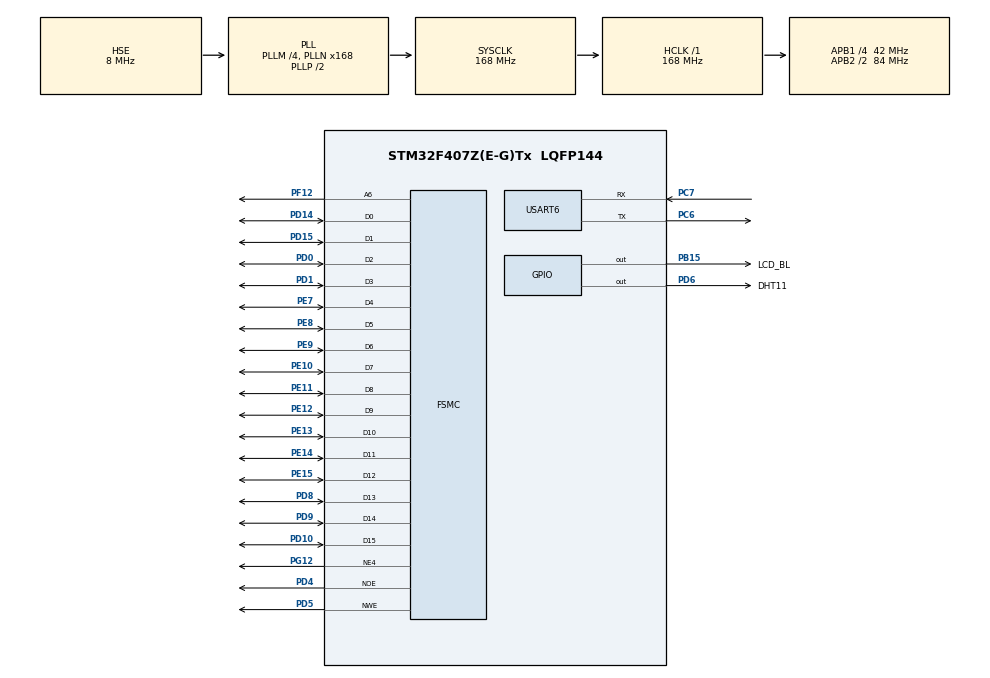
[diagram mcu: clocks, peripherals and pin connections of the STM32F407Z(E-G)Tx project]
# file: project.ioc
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FSMC.BusTurnAroundDuration1=0
FSMC.DataSetupTime1=60
FSMC.ExtendedAddressSetupTime1=8
FSMC.ExtendedBusTurnAroundDuration1=0
FSMC.ExtendedDataSetupTime1=8
FSMC.ExtendedMode1=FSMC_EXTENDED_MODE_ENABLE
Mcu.Family=STM32F4
Mcu.Name=STM32F407Z(E-G)Tx
Mcu.Package=LQFP144
NVIC.PriorityGroup=NVIC_PRIORITYGROUP_4
PA13.Mode=Serial_Wire
PA13.Signal=SYS_JTMS-SWDIO
PA14.Mode=Serial_Wire
PA14.Signal=SYS_JTCK-SWCLK
PB15.GPIO_Label=LCD_BL
PB15.Signal=GPIO_Output
PC14-OSC32_IN.Mode=LSE-External-Oscillator
PC14-OSC32_IN.Signal=RCC_OSC32_IN
PC15-OSC32_OUT.Mode=LSE-External-Oscillator
PC15-OSC32_OUT.Signal=RCC_OSC32_OUT
PC6.Mode=Asynchronous
PC6.Signal=USART6_TX
PC7.Mode=Asynchronous
PC7.Signal=USART6_RX
PD0.Signal=FSMC_D2_DA2
PD1.Signal=FSMC_D3_DA3
PD10.Signal=FSMC_D15_DA15
PD14.Signal=FSMC_D0_DA0
PD15.Signal=FSMC_D1_DA1
PD4.Signal=FSMC_NOE
PD5.Signal=FSMC_NWE
PD6.GPIO_Label=DHT11
PD6.Signal=GPIO_Output
PD8.Signal=FSMC_D13_DA13
PD9.Signal=FSMC_D14_DA14
PE10.Signal=FSMC_D7_DA7
PE11.Signal=FSMC_D8_DA8
PE12.Signal=FSMC_D9_DA9
PE13.Signal=FSMC_D10_DA10
PE14.Signal=FSMC_D11_DA11
PE15.Signal=FSMC_D12_DA12
PE7.Signal=FSMC_D4_DA4
PE8.Signal=FSMC_D5_DA5
PE9.Signal=FSMC_D6_DA6
PF12.Signal=FSMC_A6
PG12.Mode=NorPsramChipSelect4_1
PG12.Signal=FSMC_NE4
PH0-OSC_IN.Mode=HSE-External-Oscillator
PH0-OSC_IN.Signal=RCC_OSC_IN
PH1-OSC_OUT.Mode=HSE-External-Oscillator
PH1-OSC_OUT.Signal=RCC_OSC_OUT
ProjectManager.HeapSize=0x200
ProjectManager.StackSize=0x400
ProjectManager.TargetToolchain=MDK-ARM V5
RCC.48MHZClocksFreq_Value=84000000
RCC.AHBFreq_Value=168000000
RCC.APB1CLKDivider=RCC_HCLK_DIV4
RCC.APB1Freq_Value=42000000
RCC.APB1TimFreq_Value=84000000
RCC.APB2CLKDivider=RCC_HCLK_DIV2
RCC.APB2Freq_Value=84000000
RCC.APB2TimFreq_Value=168000000
RCC.CortexFreq_Value=168000000
RCC.HCLKFreq_Value=168000000
RCC.HSE_VALUE=8000000
RCC.HSI_VALUE=16000000
RCC.PLLM=4
RCC.PLLN=168
RCC.PLLSourceVirtual=RCC_PLLSOURCE_HSE
RCC.SYSCLKFreq_VALUE=168000000
RCC.SYSCLKSource=RCC_SYSCLKSOURCE_PLLCLK
RCC.VCOOutputFreq_Value=336000000
SH.FSMC_A6.0=FSMC_A6,A6_1
SH.FSMC_D0_DA0.0=FSMC_D0,16b-d1
SH.FSMC_D10_DA10.0=FSMC_D10,16b-d1
SH.FSMC_D11_DA11.0=FSMC_D11,16b-d1
SH.FSMC_D12_DA12.0=FSMC_D12,16b-d1
SH.FSMC_D13_DA13.0=FSMC_D13,16b-d1
SH.FSMC_D14_DA14.0=FSMC_D14,16b-d1
SH.FSMC_D15_DA15.0=FSMC_D15,16b-d1
SH.FSMC_D1_DA1.0=FSMC_D1,16b-d1
SH.FSMC_D2_DA2.0=FSMC_D2,16b-d1
SH.FSMC_D3_DA3.0=FSMC_D3,16b-d1
SH.FSMC_D4_DA4.0=FSMC_D4,16b-d1
SH.FSMC_D5_DA5.0=FSMC_D5,16b-d1
SH.FSMC_D6_DA6.0=FSMC_D6,16b-d1
SH.FSMC_D7_DA7.0=FSMC_D7,16b-d1
SH.FSMC_D8_DA8.0=FSMC_D8,16b-d1
SH.FSMC_D9_DA9.0=FSMC_D9,16b-d1
SH.FSMC_NOE.0=FSMC_NOE,Lcd1
SH.FSMC_NWE.0=FSMC_NWE,Lcd1
TIM3.Period=999
TIM3.Prescaler=83
TIM5.Prescaler=83
USART6.VirtualMode=VM_ASYNC
VP_TIM3_VS_ClockSourceINT.Mode=Internal
VP_TIM5_VS_ClockSourceINT.Mode=Internal
board=custom

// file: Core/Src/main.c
/* USER CODE BEGIN Header */
/**
  ******************************************************************************
  * @file           : main.c
  * @brief          : Main program body
  ******************************************************************************
  * @attention
  *
  * <h2><center>&copy; Copyright (c) 2022 STMicroelectronics.
  * All rights reserved.</center></h2>
  *
  * This software component is licensed by ST under BSD 3-Clause license,
  * the "License"; You may not use this file except in compliance with the
  * License. You may obtain a copy of the License at:
  *                        opensource.org/licenses/BSD-3-Clause
  *
  ******************************************************************************
  */
/* USER CODE END Header */
#include "main.h"
#include "tim.h"
#include "usart.h"
#include "gpio.h"
#include "fsmc.h"

/* USER CODE BEGIN Includes */
#include "COMMON/bsp_common.h"
#include "LCD/bsp_lcd.h"
#include "DHT11/bsp_dht11.h"
#include "INFO/bsp_info.h"
/* USER CODE END Includes */

/* USER CODE BEGIN PV */
//LCD显示变量
uint8_t lcd_std[12];
//dht11变量
DHT11_Data_TypeDef DHT11_Data;
char uart_std[21];
/* USER CODE END PV */

void SystemClock_Config(void);

int main(void)
{

  /* MCU Configuration--------------------------------------------------------*/

  /* Reset of all peripherals, Initializes the Flash interface and the Systick. */
  HAL_Init();

  /* Configure the system clock */
  SystemClock_Config();

  /* Initialize all configured peripherals */
  MX_GPIO_Init();
  MX_FSMC_Init();
  MX_TIM3_Init();
  MX_TIM5_Init();
  MX_USART6_UART_Init();
  /* USER CODE BEGIN 2 */
	LCD_Init();
	LCD_DisplayOn();
	LCD_Display_Dir(1);/*横屏显示*/
  /* USER CODE END 2 */

  /* Infinite loop */
  while (1)
  {

    /* USER CODE BEGIN 3 */
		//LCD显示例程
//		LCD_ShowString(30,40,250,24,24,(uint8_t*)"Explorer STM32F4");
//		LCD_ShowString(30,70,200,16,16,(uint8_t*)"TFTLCD TEST");
//		LCD_ShowString(30,90,200,16,16,(uint8_t*)"ATOM@ALIENTEK");
//		sprintf((char*)lcd_std,"LCD ID:%04X",lcddev.id);
//		LCD_ShowString(30,110,200,16,16,lcd_std);
//		sprintf((char*)lcd_std,"KEY:%04d",key_val);
//		LCD_ShowString(30,130,200,12,12,lcd_std);
		//DHT11例程
		if(DHT11_ReadData(&DHT11_Data))
		{
			user_main_info("\r\nDHT11 Read Success!\r\n");

			sprintf(uart_std,"\r\n湿度为%d.%d ％RH\r\n", DHT11_Data.humi_int,DHT11_Data.humi_deci);
			HAL_UART_Transmit(&huart6,(uint8_t*)uart_std,21,0XFFFF);

			sprintf(uart_std,"\r\n温度为%d.%d  ℃  \r\n", DHT11_Data.temp_int,DHT11_Data.temp_deci);
			HAL_UART_Transmit(&huart6,(uint8_t*)uart_std,21,0XFFFF);
		}
		else
		{
			user_main_error("Read DHT11 ERROR!\r\n");
		}
		HAL_Delay(3000);
  }
  /* USER CODE END 3 */
}

void SystemClock_Config(void)
{
  RCC_OscInitTypeDef RCC_OscInitStruct = {0};
  RCC_ClkInitTypeDef RCC_ClkInitStruct = {0};

  /** Configure the main internal regulator output voltage
  */
  __HAL_RCC_PWR_CLK_ENABLE();
  __HAL_PWR_VOLTAGESCALING_CONFIG(PWR_REGULATOR_VOLTAGE_SCALE1);
  /** Initializes the RCC Oscillators according to the specified parameters
  * in the RCC_OscInitTypeDef structure.
  */
  RCC_OscInitStruct.OscillatorType = RCC_OSCILLATORTYPE_HSE;
  RCC_OscInitStruct.HSEState = RCC_HSE_ON;
  RCC_OscInitStruct.PLL.PLLState = RCC_PLL_ON;
  RCC_OscInitStruct.PLL.PLLSource = RCC_PLLSOURCE_HSE;
  RCC_OscInitStruct.PLL.PLLM = 4;
  RCC_OscInitStruct.PLL.PLLN = 168;
  RCC_OscInitStruct.PLL.PLLP = RCC_PLLP_DIV2;
  RCC_OscInitStruct.PLL.PLLQ = 4;
  if (HAL_RCC_OscConfig(&RCC_OscInitStruct) != HAL_OK)
  {
    Error_Handler();
  }
  /** Initializes the CPU, AHB and APB buses clocks
  */
  RCC_ClkInitStruct.ClockType = RCC_CLOCKTYPE_HCLK|RCC_CLOCKTYPE_SYSCLK
                              |RCC_CLOCKTYPE_PCLK1|RCC_CLOCKTYPE_PCLK2;
  RCC_ClkInitStruct.SYSCLKSource = RCC_SYSCLKSOURCE_PLLCLK;
  RCC_ClkInitStruct.AHBCLKDivider = RCC_SYSCLK_DIV1;
  RCC_ClkInitStruct.APB1CLKDivider = RCC_HCLK_DIV4;
  RCC_ClkInitStruct.APB2CLKDivider = RCC_HCLK_DIV2;

  if (HAL_RCC_ClockConfig(&RCC_ClkInitStruct, FLASH_LATENCY_5) != HAL_OK)
  {
    Error_Handler();
  }
}

void Error_Handler(void)
{
  __disable_irq();
  while (1)
  {
  }
}

/************************ (C) COPYRIGHT STMicroelectronics *****END OF FILE****/
